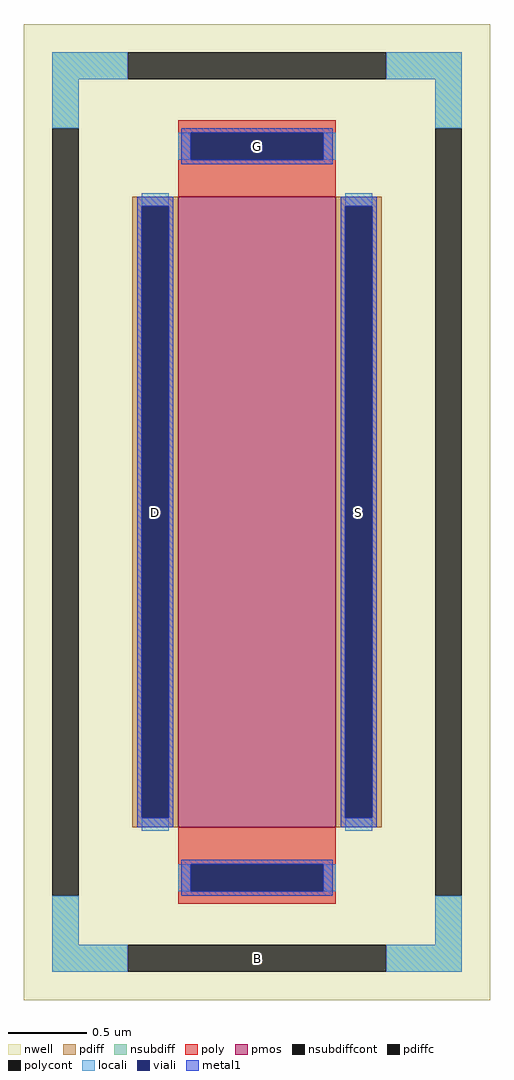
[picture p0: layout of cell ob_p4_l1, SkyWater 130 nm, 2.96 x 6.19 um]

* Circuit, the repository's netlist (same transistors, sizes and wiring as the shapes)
* NGSPICE file created from ob_p4_l1.ext - technology: sky130A

.subckt ob_p4_l1 B D S G
X0 S G D B sky130_fd_pr__pfet_01v8 ad=1.16 pd=8.58 as=1.16 ps=8.58 w=4 l=1
.ends

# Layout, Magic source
magic
tech sky130A
magscale 1 2
<< nwell >>
rect -296 -619 296 619
<< pmos >>
rect -100 -400 100 400
<< pdiff >>
rect -158 388 -100 400
rect -158 -388 -146 388
rect -112 -388 -100 388
rect -158 -400 -100 -388
rect 100 388 158 400
rect 100 -388 112 388
rect 146 -388 158 388
rect 100 -400 158 -388
<< pdiffc >>
rect -146 -388 -112 388
rect 112 -388 146 388
<< nsubdiff >>
rect -260 549 -164 583
rect 164 549 260 583
rect -260 487 -226 549
rect 226 487 260 549
rect -260 -549 -226 -487
rect 226 -549 260 -487
rect -260 -583 -164 -549
rect 164 -583 260 -549
<< nsubdiffcont >>
rect -164 549 164 583
rect -260 -487 -226 487
rect 226 -487 260 487
rect -164 -583 164 -549
<< poly >>
rect -100 481 100 497
rect -100 447 -84 481
rect 84 447 100 481
rect -100 400 100 447
rect -100 -447 100 -400
rect -100 -481 -84 -447
rect 84 -481 100 -447
rect -100 -497 100 -481
<< polycont >>
rect -84 447 84 481
rect -84 -481 84 -447
<< locali >>
rect -260 549 -164 583
rect 164 549 260 583
rect -260 487 -226 549
rect 226 487 260 549
rect -100 447 -84 481
rect 84 447 100 481
rect -146 388 -112 404
rect -146 -404 -112 -388
rect 112 388 146 404
rect 112 -404 146 -388
rect -100 -481 -84 -447
rect 84 -481 100 -447
rect -260 -549 -226 -487
rect 226 -549 260 -487
rect -260 -583 -164 -549
rect 164 -583 260 -549
<< viali >>
rect -84 447 84 481
rect -146 -388 -112 388
rect 112 -388 146 388
rect -84 -481 84 -447
<< metal1 >>
rect -96 481 96 487
rect -96 447 -84 481
rect 84 447 96 481
rect -96 441 96 447
rect -152 388 -106 400
rect -152 -388 -146 388
rect -112 -388 -106 388
rect -152 -400 -106 -388
rect 106 388 152 400
rect 106 -388 112 388
rect 146 -388 152 388
rect 106 -400 152 -388
rect -96 -447 96 -441
rect -96 -481 -84 -447
rect 84 -481 96 -447
rect -96 -487 96 -481
<< labels >>
rlabel nsubdiffcont 0 -566 0 -566 0 B
port 1 nsew
rlabel pdiffc -129 0 -129 0 0 D
port 2 nsew
rlabel pdiffc 129 0 129 0 0 S
port 3 nsew
rlabel polycont 0 464 0 464 0 G
port 4 nsew
<< properties >>
string FIXED_BBOX -243 -566 243 566
<< end >>
